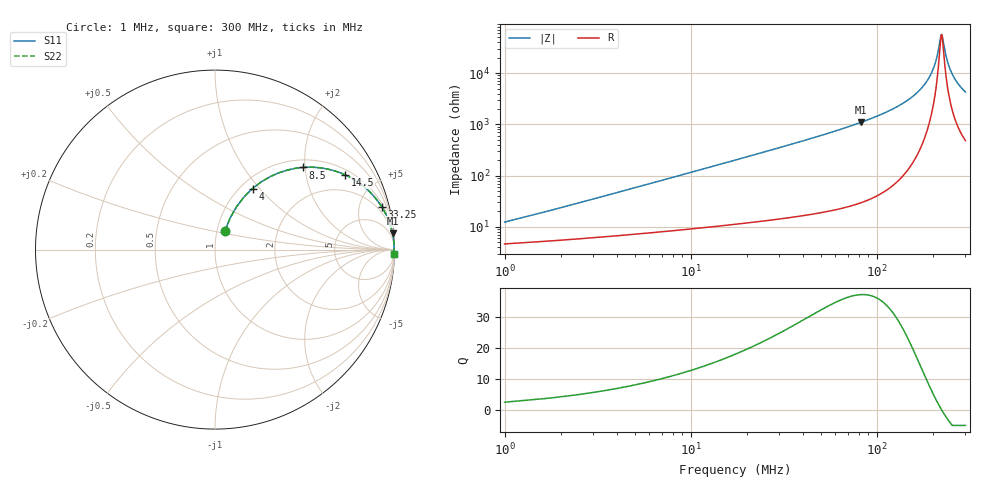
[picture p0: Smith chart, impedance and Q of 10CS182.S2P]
! Coilcraft 1008CS-182 Chip Inductor
! 02 July 2002
# MHZ S MA R 50
!Freq  MagS11  AngS11  MagS21  AngS21  MagS12  AngS12  MagS22  AngS22
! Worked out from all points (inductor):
!   400 points, 1 MHz to 300 MHz, reference 50 ohm
!   read as one part in series: L = 1.82 uH near 2.5 MHz
!   highest Q = 37.1 at 82.75 MHz (marker M1), where L = 2.11 uH
!   self-resonance near 223 MHz
!   S11 on the Smith chart (normalised r, x): 1 MHz: 1.09, +0.23; 4 MHz: 1.13, +0.92; 8.5 MHz: 1.17, +1.95; 14.5 MHz: 1.21, +3.34; 33.25 MHz: 1.30, +7.80; 300 MHz: 11, -85
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1  0.1175 61.7  0.95 -6.3  0.95 -6.3  0.1175 61.7
1.75  0.1936 64.4  0.9329 -10.8  0.9329 -10.8  0.1936 64.4
2.5  0.2668 63.4  0.9121 -15.2  0.9121 -15.2  0.2668 63.4
4  0.3993 58.4  0.8611 -23.3  0.8611 -23.3  0.3993 58.4
6.25  0.5575 50.2  0.7728 -33.7  0.7728 -33.7  0.5575 50.2
8.5  0.6712 43.0  0.685 -42.0  0.685 -42.0  0.6712 43.0
14.5  0.8357 29.9  0.4995 -56.5  0.4995 -56.5  0.8357 29.9
22  0.916 21.0  0.3592 -66.2  0.3592 -66.2  0.916 21.0
33.25  0.9599 14.2  0.246 -73.6  0.246 -73.6  0.9599 14.2
51.25  0.9825 9.1  0.1583 -79.1  0.1583 -79.1  0.9825 9.1
82.75  0.9935 5.2  0.09032 -83.3  0.09032 -83.3  0.9935 5.2
100.75  0.9957 3.9  0.06866 -84.5  0.06866 -84.5  0.9957 3.9
151  0.9981 1.8  0.03135 -85.6  0.03135 -85.6  0.9981 1.8
180.25  0.9984 1.0  0.01695 -84.0  0.01695 -84.0  0.9984 1.0
200.5  0.9984 0.5  0.00863 -78.9  0.00863 -78.9  0.9984 0.5
210.25  0.9983 0.3  0.005052 -70.6  0.005052 -70.6  0.9983 0.3
220.75  0.9983 0.1  0.00199 -29.5  0.00199 -29.5  0.9983 0.1
223.75  0.9982 -0.0  0.001759 2.3  0.001759 2.3  0.9982 -0.0
237.25  0.9981 -0.3  0.004995 67.6  0.004995 67.6  0.9981 -0.3
250.75  0.9979 -0.5  0.009169 76.8  0.009169 76.8  0.9979 -0.5
271  0.9976 -0.9  0.01521 80.6  0.01521 80.6  0.9976 -0.9
300  0.9971 -1.3  0.02331 82.2  0.02331 82.2  0.9971 -1.3
